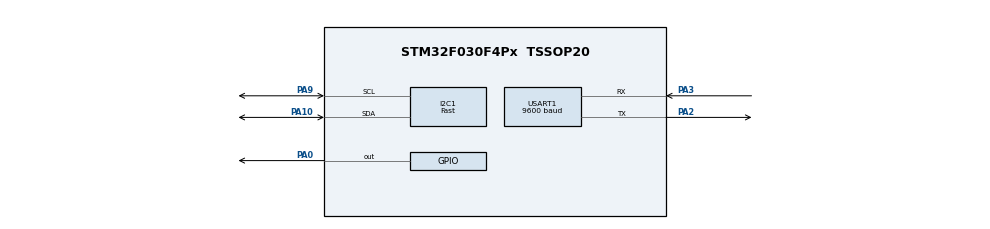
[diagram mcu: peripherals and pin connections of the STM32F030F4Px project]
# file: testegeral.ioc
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I2C1.I2C_Speed_Mode=I2C_Fast
I2C1.Timing=0x0000020B
Mcu.Family=STM32F0
Mcu.Name=STM32F030F4Px
Mcu.Package=TSSOP20
PA0.Signal=GPIO_Output
PA10.Mode=I2C
PA10.Signal=I2C1_SDA
PA13.Mode=Serial_Wire
PA13.Signal=SYS_SWDIO
PA14.Mode=Serial_Wire
PA14.Signal=SYS_SWCLK
PA2.Mode=Asynchronous
PA2.Signal=USART1_TX
PA3.Mode=Asynchronous
PA3.Signal=USART1_RX
PA9.Mode=I2C
PA9.Signal=I2C1_SCL
ProjectManager.HeapSize=0x200
ProjectManager.StackSize=0x400
ProjectManager.TargetToolchain=TrueSTUDIO
USART1.BaudRate=9600
USART1.VirtualMode-Asynchronous=VM_ASYNC
board=custom

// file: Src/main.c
/**
  ******************************************************************************
  * @file           : main.c
  * @brief          : Main program body
  ******************************************************************************
  ** This notice applies to any and all portions of this file
  * that are not between comment pairs USER CODE BEGIN and
  * USER CODE END. Other portions of this file, whether
  * inserted by the user or by software development tools
  * are owned by their respective copyright owners.
  *
  * COPYRIGHT(c) 2018 STMicroelectronics
  *
  * Redistribution and use in source and binary forms, with or without modification,
  * are permitted provided that the following conditions are met:
  *   1. Redistributions of source code must retain the above copyright notice,
  *      this list of conditions and the following disclaimer.
  *   2. Redistributions in binary form must reproduce the above copyright notice,
  *      this list of conditions and the following disclaimer in the documentation
  *      and/or other materials provided with the distribution.
  *   3. Neither the name of STMicroelectronics nor the names of its contributors
  *      may be used to endorse or promote products derived from this software
  *      without specific prior written permission.
  *
  * THIS SOFTWARE IS PROVIDED BY THE COPYRIGHT HOLDERS AND CONTRIBUTORS "AS IS"
  * AND ANY EXPRESS OR IMPLIED WARRANTIES, INCLUDING, BUT NOT LIMITED TO, THE
  * IMPLIED WARRANTIES OF MERCHANTABILITY AND FITNESS FOR A PARTICULAR PURPOSE ARE
  * DISCLAIMED. IN NO EVENT SHALL THE COPYRIGHT HOLDER OR CONTRIBUTORS BE LIABLE
  * FOR ANY DIRECT, INDIRECT, INCIDENTAL, SPECIAL, EXEMPLARY, OR CONSEQUENTIAL
  * DAMAGES (INCLUDING, BUT NOT LIMITED TO, PROCUREMENT OF SUBSTITUTE GOODS OR
  * SERVICES; LOSS OF USE, DATA, OR PROFITS; OR BUSINESS INTERRUPTION) HOWEVER
  * CAUSED AND ON ANY THEORY OF LIABILITY, WHETHER IN CONTRACT, STRICT LIABILITY,
  * OR TORT (INCLUDING NEGLIGENCE OR OTHERWISE) ARISING IN ANY WAY OUT OF THE USE
  * OF THIS SOFTWARE, EVEN IF ADVISED OF THE POSSIBILITY OF SUCH DAMAGE.
  *
  ******************************************************************************
  */
#include "main.h"
#include "stm32f0xx_hal.h"

/* USER CODE BEGIN Includes */
#include "ssd1306.h"
#include <string.h>
/* USER CODE END Includes */

I2C_HandleTypeDef hi2c1;

UART_HandleTypeDef huart1;

/* USER CODE BEGIN PV */
/* Private variables ---------------------------------------------------------*/
uint8_t check;
//uint8_t airtin[6] = "01234";

/* USER CODE END PV */

void SystemClock_Config(void);
void MX_GPIO_Init(void);
void MX_I2C1_Init(void);
void MX_USART1_UART_Init(void);

/* USER CODE BEGIN PFP */
/* Private function prototypes -----------------------------------------------*/
void msg(char uhu, char *teucu) {
	int cont = 0;
	if(uhu == '1'){
		while(cont <3){
//			 char *airtu = *teucu;
			 HAL_GPIO_TogglePin(GPIOA, GPIO_PIN_0);
			 check = SSD1306_Init ();
			 SSD1306_UpdateScreen(); //display
			 SSD1306_GotoXY (10,10);
			 SSD1306_Puts (teucu, &Font_11x18, 1);
			 SSD1306_GotoXY (10, 30);
			 SSD1306_Puts ("LIGANDO", &Font_11x18, 1);
			 SSD1306_UpdateScreen(); //display
			 HAL_I2C_IsDeviceReady (&hi2c1, 0x4E, 10, 100);
			 HAL_Delay(1000);
			 cont ++;
			 HAL_GPIO_TogglePin(GPIOA, GPIO_PIN_0);
			 HAL_Delay(500);
		}
//		airtim[0] = "0";
	}

	if(uhu == '2'){
		while(cont <3){
			HAL_GPIO_TogglePin(GPIOA, GPIO_PIN_0);
			check = SSD1306_Init ();
			SSD1306_UpdateScreen(); //display
			SSD1306_GotoXY (10,10);
			SSD1306_Puts ("MARIA", &Font_11x18, 1);
			SSD1306_GotoXY (10, 30);
			SSD1306_Puts ("LIGANDO", &Font_11x18, 1);
			SSD1306_UpdateScreen(); //display
			HAL_I2C_IsDeviceReady (&hi2c1, 0x4E, 10, 100);
			HAL_Delay(1000);
			cont ++;
			HAL_GPIO_TogglePin(GPIOA, GPIO_PIN_0);
			HAL_Delay(500);
		}
//		airtim[0] = "0";
	}
	if(uhu != '1' && uhu != '2'){
		while(cont <3){
				check = SSD1306_Init ();
				SSD1306_UpdateScreen(); //display
				SSD1306_GotoXY (10, 30);
				SSD1306_Puts (teucu, &Font_11x18, 1);
				SSD1306_UpdateScreen(); //display
				HAL_I2C_IsDeviceReady (&hi2c1, 0x4E, 10, 100);
				HAL_Delay(1000);
				cont ++;
//				HAL_GPIO_TogglePin(GPIOA, GPIO_PIN_0);
			}
//		airtim[0] = "0";
	}
}

/* USER CODE END PFP */

int main(void)
{

  /* MCU Configuration----------------------------------------------------------*/

  /* Reset of all peripherals, Initializes the Flash interface and the Systick. */
  HAL_Init();

  /* Configure the system clock */
  SystemClock_Config();

  /* Initialize all configured peripherals */
  MX_GPIO_Init();
  MX_I2C1_Init();
  MX_USART1_UART_Init();

  /* USER CODE BEGIN 2 */

  	  	check = SSD1306_Init ();
    	SSD1306_UpdateScreen(); //display
    	SSD1306_GotoXY (10,10);
    	SSD1306_Puts ("", &Font_11x18, 1);
    	SSD1306_GotoXY (10, 30);
    	SSD1306_Puts ("INICIANDO", &Font_11x18, 1);
    	SSD1306_UpdateScreen(); //display
    	HAL_Delay(2500);
//    	SSD1306_GotoXY (10, 30);
//    	SSD1306_UpdateScreen();

  /* USER CODE END 2 */

  /* Infinite loop */
  /* USER CODE BEGIN WHILE */

  while (1)
  {
	  char airtim[20];

	  memset( airtim, 0, 20 );

	  HAL_UART_Receive( &huart1, airtim, 20, 2000 );
	  HAL_UART_Transmit ( &huart1, airtim, 20, 100 );
	  msg(airtim[0],airtim);

//	  HAL_UART_Transmit(&huart1,(uint8_t*)airtin, 7,100);
//	  HAL_UART_Receive(&huart1,(uint8_t*)airtin, 7,100);
//	  msg(airtin[0]);
//
	  airtim[0] = "0";

  /* USER CODE END WHILE */
//	  HAL_UART_Receive(&huart1,(uint8_t*)airtin, 2,100);
//	  HAL_Delay(100);
//	  HAL_UART_Transmit(&huart1,(uint8_t*)airtin , 2,100);
//	  HAL_Delay(100);

  }

}

void SystemClock_Config(void)
{

  RCC_OscInitTypeDef RCC_OscInitStruct;
  RCC_ClkInitTypeDef RCC_ClkInitStruct;
  RCC_PeriphCLKInitTypeDef PeriphClkInit;

    /**Initializes the CPU, AHB and APB busses clocks
    */
  RCC_OscInitStruct.OscillatorType = RCC_OSCILLATORTYPE_HSI;
  RCC_OscInitStruct.HSIState = RCC_HSI_ON;
  RCC_OscInitStruct.HSICalibrationValue = 16;
  RCC_OscInitStruct.PLL.PLLState = RCC_PLL_NONE;
  if (HAL_RCC_OscConfig(&RCC_OscInitStruct) != HAL_OK)
  {
    _Error_Handler(__FILE__, __LINE__);
  }

    /**Initializes the CPU, AHB and APB busses clocks
    */
  RCC_ClkInitStruct.ClockType = RCC_CLOCKTYPE_HCLK|RCC_CLOCKTYPE_SYSCLK
                              |RCC_CLOCKTYPE_PCLK1;
  RCC_ClkInitStruct.SYSCLKSource = RCC_SYSCLKSOURCE_HSI;
  RCC_ClkInitStruct.AHBCLKDivider = RCC_SYSCLK_DIV1;
  RCC_ClkInitStruct.APB1CLKDivider = RCC_HCLK_DIV1;

  if (HAL_RCC_ClockConfig(&RCC_ClkInitStruct, FLASH_LATENCY_0) != HAL_OK)
  {
    _Error_Handler(__FILE__, __LINE__);
  }

  PeriphClkInit.PeriphClockSelection = RCC_PERIPHCLK_USART1|RCC_PERIPHCLK_I2C1;
  PeriphClkInit.Usart1ClockSelection = RCC_USART1CLKSOURCE_PCLK1;
  PeriphClkInit.I2c1ClockSelection = RCC_I2C1CLKSOURCE_HSI;
  if (HAL_RCCEx_PeriphCLKConfig(&PeriphClkInit) != HAL_OK)
  {
    _Error_Handler(__FILE__, __LINE__);
  }

    /**Configure the Systick interrupt time
    */
  HAL_SYSTICK_Config(HAL_RCC_GetHCLKFreq()/1000);

    /**Configure the Systick
    */
  HAL_SYSTICK_CLKSourceConfig(SYSTICK_CLKSOURCE_HCLK);

  /* SysTick_IRQn interrupt configuration */
  HAL_NVIC_SetPriority(SysTick_IRQn, 0, 0);
}

/* I2C1 init function */
void MX_I2C1_Init(void)
{

  hi2c1.Instance = I2C1;
  hi2c1.Init.Timing = 0x0000020B;
  hi2c1.Init.OwnAddress1 = 0;
  hi2c1.Init.AddressingMode = I2C_ADDRESSINGMODE_7BIT;
  hi2c1.Init.DualAddressMode = I2C_DUALADDRESS_DISABLE;
  hi2c1.Init.OwnAddress2 = 0;
  hi2c1.Init.OwnAddress2Masks = I2C_OA2_NOMASK;
  hi2c1.Init.GeneralCallMode = I2C_GENERALCALL_DISABLE;
  hi2c1.Init.NoStretchMode = I2C_NOSTRETCH_DISABLE;
  if (HAL_I2C_Init(&hi2c1) != HAL_OK)
  {
    _Error_Handler(__FILE__, __LINE__);
  }

    /**Configure Analogue filter
    */
  if (HAL_I2CEx_ConfigAnalogFilter(&hi2c1, I2C_ANALOGFILTER_ENABLE) != HAL_OK)
  {
    _Error_Handler(__FILE__, __LINE__);
  }

    /**Configure Digital filter
    */
  if (HAL_I2CEx_ConfigDigitalFilter(&hi2c1, 0) != HAL_OK)
  {
    _Error_Handler(__FILE__, __LINE__);
  }

}

/* USART1 init function */
void MX_USART1_UART_Init(void)
{

  huart1.Instance = USART1;
  huart1.Init.BaudRate = 9600;
  huart1.Init.WordLength = UART_WORDLENGTH_8B;
  huart1.Init.StopBits = UART_STOPBITS_1;
  huart1.Init.Parity = UART_PARITY_NONE;
  huart1.Init.Mode = UART_MODE_TX_RX;
  huart1.Init.HwFlowCtl = UART_HWCONTROL_NONE;
  huart1.Init.OverSampling = UART_OVERSAMPLING_16;
  huart1.Init.OneBitSampling = UART_ONE_BIT_SAMPLE_DISABLE;
  huart1.AdvancedInit.AdvFeatureInit = UART_ADVFEATURE_NO_INIT;
  if (HAL_UART_Init(&huart1) != HAL_OK)
  {
    _Error_Handler(__FILE__, __LINE__);
  }

}

/** Configure pins as
        * Analog
        * Input
        * Output
        * EVENT_OUT
        * EXTI
*/
void MX_GPIO_Init(void)
{

  GPIO_InitTypeDef GPIO_InitStruct;

  /* GPIO Ports Clock Enable */
  __HAL_RCC_GPIOA_CLK_ENABLE();

  /*Configure GPIO pin Output Level */
  HAL_GPIO_WritePin(GPIOA, GPIO_PIN_0, GPIO_PIN_RESET);

  /*Configure GPIO pin : PA0 */
  GPIO_InitStruct.Pin = GPIO_PIN_0;
  GPIO_InitStruct.Mode = GPIO_MODE_OUTPUT_PP;
  GPIO_InitStruct.Pull = GPIO_NOPULL;
  GPIO_InitStruct.Speed = GPIO_SPEED_FREQ_LOW;
  HAL_GPIO_Init(GPIOA, &GPIO_InitStruct);

}

void _Error_Handler(char *file, int line)
{
  while(1)
  {
  }
}

/************************ (C) COPYRIGHT STMicroelectronics *****END OF FILE****/
